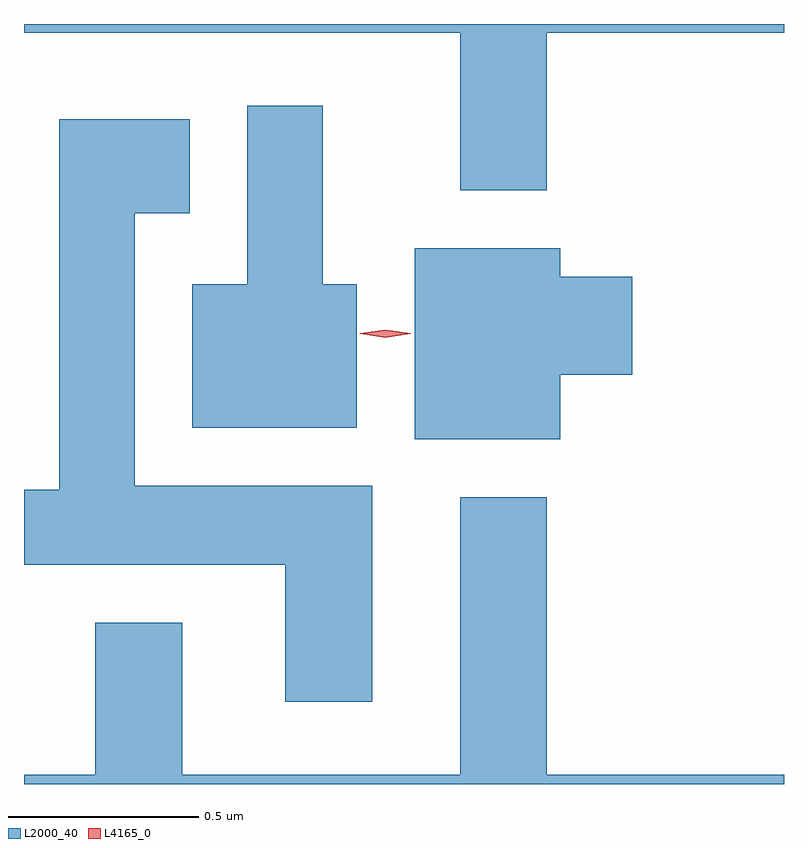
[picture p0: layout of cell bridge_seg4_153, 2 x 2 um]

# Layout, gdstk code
import gdstk
lib = gdstk.Library(unit=1e-6, precision=1e-09)
def P(c, l, *ps):  # polygons
    for p in ps: c.add(gdstk.Polygon(p, *l))
L2000_40 = (2000, 40)
L4165_0 = (4165, 0)

bridge_seg4_153 = lib.new_cell('bridge_seg4_153')
P(bridge_seg4_153, L2000_40, [(885.169,1281.416),(885.793,1281.416),(885.793,1281.439),(883.793,1281.439),(883.793,1281.416),(884.941,1281.416),(884.941,1281.001),(885.169,1281.001)],
  [(884.669,1280.754),(884.579,1280.754),(884.579,1281.224),(884.381,1281.224),(884.381,1280.754),(884.236,1280.754),(884.236,1280.376),(884.669,1280.376)],
  [(884.709,1280.224),(884.084,1280.224),(884.084,1280.941),(884.229,1280.941),(884.229,1281.189),(883.886,1281.189),(883.886,1280.214),(883.793,1280.214),(883.793,1280.016),(884.481,1280.016),(884.481,1279.656),(884.709,1279.656)],
  [(885.204,1280.516),(885.394,1280.516),(885.394,1280.774),(885.204,1280.774),(885.204,1280.849),(884.821,1280.849),(884.821,1280.346),(885.204,1280.346)],
  [(884.209,1279.864),(883.981,1279.864),(883.981,1279.464),(883.793,1279.464),(883.793,1279.439),(885.793,1279.439),(885.793,1279.464),(885.169,1279.464),(885.169,1280.194),(884.941,1280.194),(884.941,1279.464),(884.209,1279.464)])
P(bridge_seg4_153, L4165_0, [(884.744,1280.614),(884.678,1280.624),(884.677,1280.624),(884.678,1280.625),(884.744,1280.634),(884.811,1280.625),(884.811,1280.624),(884.811,1280.624)])

lib.write_gds('bridge_seg4_153.gds')
